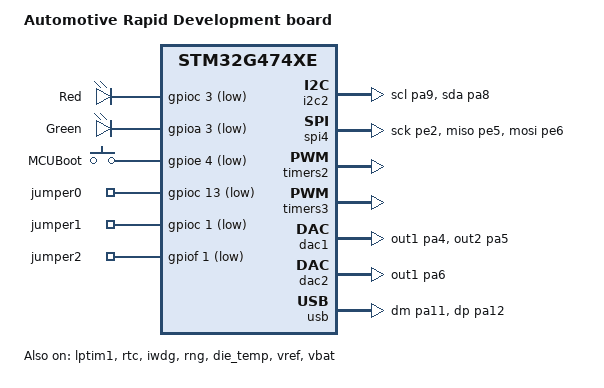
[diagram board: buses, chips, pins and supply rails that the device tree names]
/*
 * Copyright (c) 2019 STMicroelectronics.
 * Copyright (C) Frickly Systems GmbH
 * Copyright (C) MBition GmbH
 *
 * SPDX-License-Identifier: Apache-2.0
 */

/dts-v1/;
#include <st/g4/stm32g474Xe.dtsi>
#include <st/g4/stm32g474v(b-c-e)tx-pinctrl.dtsi>
#include "arduino_r3_connector.dtsi"
#include "adc.dtsi"
#include "can.dtsi"
#include "clock.dtsi"
#include "uart.dtsi"
#include "lin.dtsi"

/ {
	model = "Automotive Rapid Development board";
	compatible = "misc,ardep";

	chosen {
		zephyr,console = &usb_cdc_acm;
		zephyr,shell-uart = &usb_cdc_acm;
		zephyr,sram = &sram0;
		zephyr,flash = &flash0;
		zephyr,canbus = &can_a;
		zephyr,code-partition = &slot0_partition;
	};

	aliases {
		watchdog0 = &iwdg;
		die-temp0 = &die_temp;
		volt-sensor0 = &vref;
		volt-sensor1 = &vbat;

		// Sets an alias for the red, green, and blue LEDs
		// required in the RGB-Blinky Sample
		red-led = &red_led;
		green-led = &green_led;

		led0 = &red_led;

		mcuboot-led0 = &red_led;
		mcuboot-button0 = &mcuboot_button0;
	};

	leds {
		compatible = "gpio-leds";

		red_led: red_led {
			gpios = <&gpioc 3 GPIO_ACTIVE_LOW>;
			label = "Red";
		};
		green_led: green_led {
			gpios = <&gpioa 3 GPIO_ACTIVE_LOW>;
			label = "Green";
		};
	};

	buttons {
		compatible = "gpio-keys";
		mcuboot_button0: mcuboot_button {
			label = "MCUBoot";
			gpios = <&gpioe 4  (GPIO_ACTIVE_LOW | GPIO_PULL_UP)>; // Gearshift 1 Jumper
		};
	};

	config_jumpers: jumpers {
		compatible = "gpio-keys";
		jumper0 {
			gpios = <&gpioc 13 (GPIO_ACTIVE_LOW|GPIO_PULL_UP)>;
		};

		jumper1 {
			gpios = <&gpioc 1 (GPIO_ACTIVE_LOW|GPIO_PULL_UP)>;
		};

		jumper2 {
			gpios = <&gpiof 1 (GPIO_ACTIVE_LOW|GPIO_PULL_UP)>;
		};
	};
};



&i2c2 {
	pinctrl-0 = <&i2c2_scl_pa9 &i2c2_sda_pa8>;
	pinctrl-names = "default";
	status = "okay";
};

&spi4 {
	pinctrl-0 = <&spi4_sck_pe2 &spi4_miso_pe5 &spi4_mosi_pe6>;
	pinctrl-names = "default";
	cs-gpios = <&gpioe 3 (GPIO_ACTIVE_LOW | GPIO_PULL_UP)>;
	status = "okay";
};

&timers2 {
	status = "okay";

	pwm2: pwm {
		status = "okay";
		pinctrl-0 = <&tim2_ch1_pa5>;
		pinctrl-names = "default";
	};
};

&timers3 {
	st,prescaler = <10000>;
	status = "okay";
	pwm3: pwm {
		status = "okay";
		pinctrl-0 = <&tim3_ch1_pb4>;
		pinctrl-names = "default";
	};
};

&lptim1 {
	clocks = <&rcc STM32_CLOCK_BUS_APB1 0x80000000>,
	         <&rcc STM32_SRC_LSI LPTIM1_SEL(1)>;
	status = "okay";
};

&rtc {
	clocks = <&rcc STM32_CLOCK_BUS_APB1 0x00000400>,
	         <&rcc STM32_SRC_LSI RTC_SEL(2)>;
	status = "okay";
};

&flash0 {
	partitions {
		compatible = "fixed-partitions";
		#address-cells = <1>;
		#size-cells = <1>;

		boot_partition: partition@0 {
			label = "mcuboot";
			reg = <0x00000000 DT_SIZE_K(96)>;
		};
		slot0_partition: partition@18000 {
			label = "image-0";
			reg = <0x00018000 DT_SIZE_K(192)>;
		};
		slot1_partition: partition@48000 {
			label = "image-1";
			reg = <0x00048000 DT_SIZE_K(192)>;
		};
		/*
		 * Storage partition will be used by FCB/LittleFS/NVS
		 * if enabled.
		 */
		storage_partition: partition@78000 {
			label = "storage";
			reg = <0x00078000 DT_SIZE_K(32)>;
		};
	};
};

&iwdg {
	status = "okay";
};

&rng {
	status = "okay";
};


&die_temp {
	status = "okay";
};

&dac1 {
	pinctrl-0 = <&dac1_out1_pa4 &dac1_out2_pa5>;
	pinctrl-names = "default";
	status = "okay";
};

&dac2 {
	pinctrl-0 = <&dac2_out1_pa6>;
	pinctrl-names = "default";
	status = "okay";
};

&vref {
	status = "okay";
};

&vbat {
	status = "okay";
};

zephyr_udc0: &usb {
	pinctrl-0 = <&usb_dm_pa11 &usb_dp_pa12>;
	pinctrl-names = "default";
	status = "okay";

	usb_cdc_acm: usb-cdc-acm {
		status = "okay";
		compatible = "zephyr,cdc-acm-uart";
	};
};


